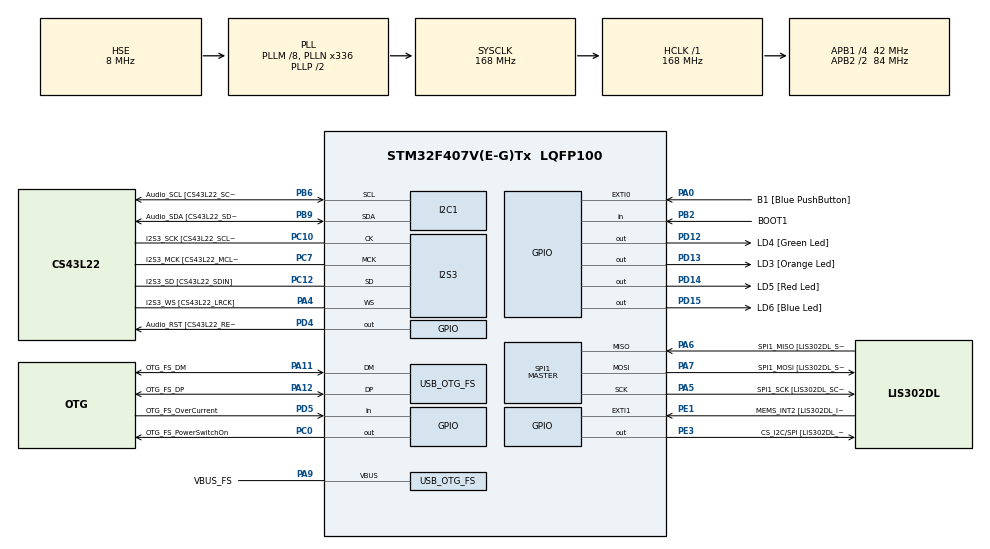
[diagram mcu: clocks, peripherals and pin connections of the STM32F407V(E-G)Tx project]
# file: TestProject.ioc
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FREERTOS.Queues01=hinweg,16,uint16_t,0,Dynamic,NULL,NULL;rueckweg,16,uint16_t,0,Dynamic,NULL,NULL
FREERTOS.Tasks01=defaultTask,24,128,StartDefaultTask,Default,NULL,Dynamic,NULL,NULL;producer,8,128,StartProducer,Default,NULL,Static,producerBuffer,producerControlBlock;consumer,8,128,StartConsumer,Default,NULL,Static,consumerBuffer,consumerControlBlock
FREERTOS.Timers01=swTimer,Callback01,osTimerPeriodic,Default,NULL,Dynamic,NULL
FREERTOS.configUSE_NEWLIB_REENTRANT=1
I2S3.AudioFreq-Half_Duplex_Master=I2S_AUDIOFREQ_96K
I2S3.ErrorAudioFreq=-2.34 %
I2S3.ErrorAudioFreq-Half_Duplex_Master=0.8 %
I2S3.FullDuplexMode=I2S_FULLDUPLEXMODE_DISABLE
I2S3.Instance=SPI$Index
I2S3.RealAudioFreq=93.75 KHz
I2S3.RealAudioFreq-Half_Duplex_Master=96.774 KHz
I2S3.VirtualMode=I2S_MODE_MASTER
Mcu.Family=STM32F4
Mcu.Name=STM32F407V(E-G)Tx
Mcu.Package=LQFP100
NVIC.OTG_FS_IRQn=true\:5\:0\:false\:false\:true\:true\:true\:true\:true
NVIC.PriorityGroup=NVIC_PRIORITYGROUP_4
NVIC.TIM6_DAC_IRQn=true\:15\:0\:false\:false\:true\:false\:false\:true\:true
NVIC.TIM7_IRQn=true\:5\:0\:false\:false\:true\:true\:true\:true\:true
NVIC.TimeBase=TIM6_DAC_IRQn
NVIC.TimeBaseIP=TIM6
PA0-WKUP.GPIO_Label=B1 [Blue PushButton]
PA0-WKUP.GPIO_ModeDefaultEXTI=GPIO_MODE_EVT_RISING
PA0-WKUP.GPIO_PuPd=GPIO_NOPULL
PA0-WKUP.Signal=GPXTI0
PA10.GPIO_Label=OTG_FS_ID
PA10.GPIO_Mode=GPIO_MODE_AF_PP
PA10.GPIO_PuPd=GPIO_NOPULL
PA10.GPIO_Speed=GPIO_SPEED_FREQ_LOW
PA10.Signal=USB_OTG_FS_ID
PA11.GPIO_Label=OTG_FS_DM
PA11.GPIO_Mode=GPIO_MODE_AF_PP
PA11.GPIO_PuPd=GPIO_NOPULL
PA11.GPIO_Speed=GPIO_SPEED_FREQ_LOW
PA11.Mode=Host_Only
PA11.Signal=USB_OTG_FS_DM
PA12.GPIO_Label=OTG_FS_DP
PA12.GPIO_Mode=GPIO_MODE_AF_PP
PA12.GPIO_PuPd=GPIO_NOPULL
PA12.GPIO_Speed=GPIO_SPEED_FREQ_LOW
PA12.Mode=Host_Only
PA12.Signal=USB_OTG_FS_DP
PA13.GPIO_Label=SWDIO
PA13.Mode=Serial_Wire
PA13.Signal=SYS_JTMS-SWDIO
PA14.GPIO_Label=SWCLK
PA14.Mode=Serial_Wire
PA14.Signal=SYS_JTCK-SWCLK
PA4.GPIO_Label=I2S3_WS [CS43L22_LRCK]
PA4.GPIO_Mode=GPIO_MODE_AF_PP
PA4.GPIO_PuPd=GPIO_NOPULL
PA4.GPIO_Speed=GPIO_SPEED_FREQ_LOW
PA4.Mode=Half_Duplex_Master
PA4.Signal=I2S3_WS
PA5.GPIO_Label=SPI1_SCK [LIS302DL_SCL/SPC]
PA5.GPIO_Mode=GPIO_MODE_AF_PP
PA5.GPIO_PuPd=GPIO_NOPULL
PA5.GPIO_Speed=GPIO_SPEED_FREQ_LOW
PA5.Mode=Full_Duplex_Master
PA5.Signal=SPI1_SCK
PA6.GPIO_Label=SPI1_MISO [LIS302DL_SDO]
PA6.GPIO_Mode=GPIO_MODE_AF_PP
PA6.GPIO_PuPd=GPIO_NOPULL
PA6.GPIO_Speed=GPIO_SPEED_FREQ_LOW
PA6.Mode=Full_Duplex_Master
PA6.Signal=SPI1_MISO
PA7.GPIO_Label=SPI1_MOSI [LIS302DL_SDA/SDI/SDO]
PA7.GPIO_Mode=GPIO_MODE_AF_PP
PA7.GPIO_PuPd=GPIO_NOPULL
PA7.GPIO_Speed=GPIO_SPEED_FREQ_LOW
PA7.Mode=Full_Duplex_Master
PA7.Signal=SPI1_MOSI
PA9.GPIO_Label=VBUS_FS
PA9.GPIO_Mode=GPIO_MODE_INPUT
PA9.GPIO_PuPd=GPIO_NOPULL
PA9.Mode=Activate_VBUS
PA9.Signal=USB_OTG_FS_VBUS
PB10.GPIO_Label=CLK_IN [MP45DT02_CLK]
PB10.GPIO_Mode=GPIO_MODE_AF_PP
PB10.GPIO_PuPd=GPIO_NOPULL
PB10.GPIO_Speed=GPIO_SPEED_FREQ_LOW
PB10.Signal=I2S2_CK
PB2.GPIO_Label=BOOT1
PB2.GPIO_Mode=GPIO_MODE_INPUT
PB2.GPIO_PuPd=GPIO_NOPULL
PB2.Signal=GPIO_Input
PB3.GPIO_Label=SWO
PB3.Signal=SYS_JTDO-SWO
PB6.GPIO_Label=Audio_SCL [CS43L22_SCL]
PB6.GPIO_Mode=GPIO_MODE_AF_OD
PB6.GPIO_Pu=GPIO_PULLUP
PB6.GPIO_PuPd=GPIO_NOPULL
PB6.GPIO_Speed=GPIO_SPEED_FREQ_LOW
PB6.Mode=I2C
PB6.Signal=I2C1_SCL
PB9.GPIO_Label=Audio_SDA [CS43L22_SDA]
PB9.GPIO_Mode=GPIO_MODE_AF_OD
PB9.GPIO_Pu=GPIO_PULLUP
PB9.GPIO_PuPd=GPIO_NOPULL
PB9.GPIO_Speed=GPIO_SPEED_FREQ_LOW
PB9.Mode=I2C
PB9.Signal=I2C1_SDA
PC0.GPIO_Label=OTG_FS_PowerSwitchOn
PC0.GPIO_PuPd=GPIO_NOPULL
PC0.GPIO_Speed=GPIO_SPEED_FREQ_LOW
PC0.PinState=GPIO_PIN_SET
PC0.Signal=GPIO_Output
PC10.GPIO_Label=I2S3_SCK [CS43L22_SCLK]
PC10.GPIO_Mode=GPIO_MODE_AF_PP
PC10.GPIO_PuPd=GPIO_NOPULL
PC10.GPIO_Speed=GPIO_SPEED_FREQ_LOW
PC10.Mode=Half_Duplex_Master
PC10.Signal=I2S3_CK
PC12.GPIO_Label=I2S3_SD [CS43L22_SDIN]
PC12.GPIO_Mode=GPIO_MODE_AF_PP
PC12.GPIO_PuPd=GPIO_NOPULL
PC12.GPIO_Speed=GPIO_SPEED_FREQ_LOW
PC12.Mode=Half_Duplex_Master
PC12.Signal=I2S3_SD
PC14-OSC32_IN.GPIO_Label=PC14-OSC32_IN
PC14-OSC32_IN.Mode=LSE-External-Oscillator
PC14-OSC32_IN.Signal=RCC_OSC32_IN
PC15-OSC32_OUT.GPIO_Label=PC15-OSC32_OUT
PC15-OSC32_OUT.Mode=LSE-External-Oscillator
PC15-OSC32_OUT.Signal=RCC_OSC32_OUT
PC3.GPIO_Label=PDM_OUT [MP45DT02_DOUT]
PC3.GPIO_Mode=GPIO_MODE_AF_PP
PC3.GPIO_PuPd=GPIO_NOPULL
PC3.GPIO_Speed=GPIO_SPEED_FREQ_LOW
PC3.Signal=I2S2_SD
PC7.GPIO_Label=I2S3_MCK [CS43L22_MCLK]
PC7.GPIO_Mode=GPIO_MODE_AF_PP
PC7.GPIO_PuPd=GPIO_NOPULL
PC7.GPIO_Speed=GPIO_SPEED_FREQ_LOW
PC7.Mode=Master_Clock_Activated
PC7.Signal=I2S3_MCK
PD12.GPIO_Label=LD4 [Green Led]
PD12.GPIO_PuPd=GPIO_NOPULL
PD12.GPIO_Speed=GPIO_SPEED_FREQ_LOW
PD12.Signal=GPIO_Output
PD13.GPIO_Label=LD3 [Orange Led]
PD13.GPIO_PuPd=GPIO_NOPULL
PD13.GPIO_Speed=GPIO_SPEED_FREQ_LOW
PD13.Signal=GPIO_Output
PD14.GPIO_Label=LD5 [Red Led]
PD14.GPIO_PuPd=GPIO_NOPULL
PD14.GPIO_Speed=GPIO_SPEED_FREQ_LOW
PD14.Signal=GPIO_Output
PD15.GPIO_Label=LD6 [Blue Led]
PD15.GPIO_PuPd=GPIO_NOPULL
PD15.GPIO_Speed=GPIO_SPEED_FREQ_LOW
PD15.Signal=GPIO_Output
PD4.GPIO_Label=Audio_RST [CS43L22_RESET]
PD4.GPIO_PuPd=GPIO_NOPULL
PD4.GPIO_Speed=GPIO_SPEED_FREQ_LOW
PD4.Signal=GPIO_Output
PD5.GPIO_Label=OTG_FS_OverCurrent
PD5.GPIO_Mode=GPIO_MODE_INPUT
PD5.GPIO_PuPd=GPIO_NOPULL
PD5.Signal=GPIO_Input
PE1.GPIO_Label=MEMS_INT2 [LIS302DL_INT2]
PE1.GPIO_ModeDefaultEXTI=GPIO_MODE_EVT_RISING
PE1.GPIO_PuPd=GPIO_NOPULL
PE1.Signal=GPXTI1
PE3.GPIO_Label=CS_I2C/SPI [LIS302DL_CS_I2C/SPI]
PE3.GPIO_PuPd=GPIO_NOPULL
PE3.GPIO_Speed=GPIO_SPEED_FREQ_LOW
PE3.Signal=GPIO_Output
PH0-OSC_IN.GPIO_Label=PH0-OSC_IN
PH0-OSC_IN.Mode=HSE-External-Oscillator
PH0-OSC_IN.Signal=RCC_OSC_IN
PH1-OSC_OUT.GPIO_Label=PH1-OSC_OUT
PH1-OSC_OUT.Mode=HSE-External-Oscillator
PH1-OSC_OUT.Signal=RCC_OSC_OUT
ProjectManager.HeapSize=0x200
ProjectManager.StackSize=0x400
ProjectManager.TargetToolchain=STM32CubeIDE
RCC.48MHZClocksFreq_Value=48000000
RCC.AHBFreq_Value=168000000
RCC.APB1CLKDivider=RCC_HCLK_DIV4
RCC.APB1Freq_Value=42000000
RCC.APB1TimFreq_Value=84000000
RCC.APB2CLKDivider=RCC_HCLK_DIV2
RCC.APB2Freq_Value=84000000
RCC.APB2TimFreq_Value=168000000
RCC.CortexFreq_Value=168000000
RCC.HCLKFreq_Value=168000000
RCC.HSE_VALUE=8000000
RCC.HSI_VALUE=16000000
RCC.PLLM=8
RCC.PLLN=336
RCC.PLLQ=7
RCC.SYSCLKFreq_VALUE=168000000
RCC.SYSCLKSource=RCC_SYSCLKSOURCE_PLLCLK
RCC.VCOOutputFreq_Value=336000000
SPI1.BaudRatePrescaler-Full_Duplex_Master=SPI_BAUDRATEPRESCALER_2
SPI1.CalculateBaudRate-Full_Duplex_Master=42.0 MBits/s
SPI1.Direction=SPI_DIRECTION_2LINES
SPI1.Mode=SPI_MODE_MASTER
SPI1.Mode-Full_Duplex_Master=SPI_MODE_MASTER
SPI1.VirtualType=VM_MASTER
TIM7.AutoReloadPreload=TIM_AUTORELOAD_PRELOAD_ENABLE
TIM7.Period=2000
TIM7.Prescaler=8399
TIM7.TIM_MasterOutputTrigger=TIM_TRGO_RESET
USB_HOST.BSP.number=1
USB_HOST.USBH_HandleTypeDef-CDC_FS=hUsbHostFS
USB_HOST.USBH_USE_OS-CDC_FS=0
USB_HOST.VirtualModeFS=Cdc
USB_HOST0.BSP.STBoard=false
USB_HOST0.BSP.api=Unknown
USB_HOST0.BSP.instance=PC0
USB_HOST0.BSP.ip=GPIO
USB_HOST0.BSP.mode=Output
USB_HOST0.BSP.name=Drive_VBUS_FS
USB_HOST0.BSP.solution=PC0
USB_OTG_FS.VirtualMode=Host_Only
USB_OTG_FS.phy_itface=HCD_PHY_EMBEDDED
VP_FREERTOS_VS_CMSIS_V2.Mode=CMSIS_V2
VP_RNG_VS_RNG.Mode=RNG_Activate
VP_SYS_VS_tim6.Mode=TIM6
VP_TIM7_VS_ClockSourceINT.Mode=Enable_Timer
VP_USB_HOST_VS_USB_HOST_CDC_FS.Mode=CDC_FS
board=STM32F407G-DISC1

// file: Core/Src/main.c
/* USER CODE BEGIN Header */
/**
  ******************************************************************************
  * @file           : main.c
  * @brief          : Main program body
  ******************************************************************************
  * @attention
  *
  * Copyright (c) 2024 STMicroelectronics.
  * All rights reserved.
  *
  * This software is licensed under terms that can be found in the LICENSE file
  * in the root directory of this software component.
  * If no LICENSE file comes with this software, it is provided AS-IS.
  *
  ******************************************************************************
  */
/* USER CODE END Header */
#include "main.h"
#include "cmsis_os.h"
#include "usb_host.h"

/* USER CODE BEGIN Includes */
#include "display.h"
#include <stdio.h>
/* USER CODE END Includes */

typedef StaticTask_t osStaticThreadDef_t;

I2C_HandleTypeDef hi2c1;

I2S_HandleTypeDef hi2s3;

RNG_HandleTypeDef hrng;

SPI_HandleTypeDef hspi1;

TIM_HandleTypeDef htim7;

/* Definitions for defaultTask */
osThreadId_t defaultTaskHandle;
const osThreadAttr_t defaultTask_attributes = {
  .name = "defaultTask",
  .stack_size = 128 * 4,
  .priority = (osPriority_t) osPriorityNormal,
};
/* Definitions for producer */
osThreadId_t producerHandle;
uint32_t producerBuffer[ 128 ];
osStaticThreadDef_t producerControlBlock;
const osThreadAttr_t producer_attributes = {
  .name = "producer",
  .cb_mem = &producerControlBlock,
  .cb_size = sizeof(producerControlBlock),
  .stack_mem = &producerBuffer[0],
  .stack_size = sizeof(producerBuffer),
  .priority = (osPriority_t) osPriorityLow,
};
/* Definitions for consumer */
osThreadId_t consumerHandle;
uint32_t consumerBuffer[ 128 ];
osStaticThreadDef_t consumerControlBlock;
const osThreadAttr_t consumer_attributes = {
  .name = "consumer",
  .cb_mem = &consumerControlBlock,
  .cb_size = sizeof(consumerControlBlock),
  .stack_mem = &consumerBuffer[0],
  .stack_size = sizeof(consumerBuffer),
  .priority = (osPriority_t) osPriorityLow,
};
/* Definitions for hinweg */
osMessageQueueId_t hinwegHandle;
const osMessageQueueAttr_t hinweg_attributes = {
  .name = "hinweg"
};
/* Definitions for rueckweg */
osMessageQueueId_t rueckwegHandle;
const osMessageQueueAttr_t rueckweg_attributes = {
  .name = "rueckweg"
};
/* Definitions for swTimer */
osTimerId_t swTimerHandle;
const osTimerAttr_t swTimer_attributes = {
  .name = "swTimer"
};

void SystemClock_Config(void);
static void MX_GPIO_Init(void);
static void MX_I2C1_Init(void);
static void MX_I2S3_Init(void);
static void MX_SPI1_Init(void);
static void MX_TIM7_Init(void);
static void MX_RNG_Init(void);
void StartDefaultTask(void *argument);
void StartProducer(void *argument);
void StartConsumer(void *argument);
void Callback01(void *argument);

/* USER CODE BEGIN 0 */
uint32_t swTimerCount = 0;
uint32_t hwTimerCount = 0;
/* USER CODE END 0 */

int main(void)
{

  /* MCU Configuration--------------------------------------------------------*/

  /* Reset of all peripherals, Initializes the Flash interface and the Systick. */
  HAL_Init();

  /* Configure the system clock */
  SystemClock_Config();

  /* Initialize all configured peripherals */
  MX_GPIO_Init();
  MX_I2C1_Init();
  MX_I2S3_Init();
  MX_SPI1_Init();
  MX_TIM7_Init();
  MX_RNG_Init();
  /* USER CODE BEGIN 2 */
  LCD_Init();
  LCD_ClearDisplay( RED );
  /* USER CODE END 2 */

  /* Init scheduler */
  osKernelInitialize();

  /* Create the timer(s) */
  /* creation of swTimer */
  swTimerHandle = osTimerNew(Callback01, osTimerPeriodic, NULL, &swTimer_attributes);

  /* USER CODE BEGIN RTOS_TIMERS */
  /* start timers, add new ones, ... */
  osStatus_t mySWTimer;
  mySWTimer = osTimerStart(swTimerHandle, 100);
  if (mySWTimer == osOK) { /* I hate warnings */ }
  /* USER CODE END RTOS_TIMERS */

  /* Create the queue(s) */
  /* creation of hinweg */
  hinwegHandle = osMessageQueueNew (16, sizeof(uint16_t), &hinweg_attributes);

  /* creation of rueckweg */
  rueckwegHandle = osMessageQueueNew (16, sizeof(uint16_t), &rueckweg_attributes);

  /* Create the thread(s) */
  /* creation of defaultTask */
  defaultTaskHandle = osThreadNew(StartDefaultTask, NULL, &defaultTask_attributes);

  /* creation of producer */
  producerHandle = osThreadNew(StartProducer, NULL, &producer_attributes);

  /* creation of consumer */
  consumerHandle = osThreadNew(StartConsumer, NULL, &consumer_attributes);

  /* Start scheduler */
  osKernelStart();

  /* We should never get here as control is now taken by the scheduler */

  /* Infinite loop */
  while (1)
  {

  }
}

void SystemClock_Config(void)
{
  RCC_OscInitTypeDef RCC_OscInitStruct = {0};
  RCC_ClkInitTypeDef RCC_ClkInitStruct = {0};

  /** Configure the main internal regulator output voltage
  */
  __HAL_RCC_PWR_CLK_ENABLE();
  __HAL_PWR_VOLTAGESCALING_CONFIG(PWR_REGULATOR_VOLTAGE_SCALE1);

  /** Initializes the RCC Oscillators according to the specified parameters
  * in the RCC_OscInitTypeDef structure.
  */
  RCC_OscInitStruct.OscillatorType = RCC_OSCILLATORTYPE_HSE;
  RCC_OscInitStruct.HSEState = RCC_HSE_ON;
  RCC_OscInitStruct.PLL.PLLState = RCC_PLL_ON;
  RCC_OscInitStruct.PLL.PLLSource = RCC_PLLSOURCE_HSE;
  RCC_OscInitStruct.PLL.PLLM = 8;
  RCC_OscInitStruct.PLL.PLLN = 336;
  RCC_OscInitStruct.PLL.PLLP = RCC_PLLP_DIV2;
  RCC_OscInitStruct.PLL.PLLQ = 7;
  if (HAL_RCC_OscConfig(&RCC_OscInitStruct) != HAL_OK)
  {
    Error_Handler();
  }

  /** Initializes the CPU, AHB and APB buses clocks
  */
  RCC_ClkInitStruct.ClockType = RCC_CLOCKTYPE_HCLK|RCC_CLOCKTYPE_SYSCLK
                              |RCC_CLOCKTYPE_PCLK1|RCC_CLOCKTYPE_PCLK2;
  RCC_ClkInitStruct.SYSCLKSource = RCC_SYSCLKSOURCE_PLLCLK;
  RCC_ClkInitStruct.AHBCLKDivider = RCC_SYSCLK_DIV1;
  RCC_ClkInitStruct.APB1CLKDivider = RCC_HCLK_DIV4;
  RCC_ClkInitStruct.APB2CLKDivider = RCC_HCLK_DIV2;

  if (HAL_RCC_ClockConfig(&RCC_ClkInitStruct, FLASH_LATENCY_5) != HAL_OK)
  {
    Error_Handler();
  }
}

static void MX_I2C1_Init(void)
{

  hi2c1.Instance = I2C1;
  hi2c1.Init.ClockSpeed = 100000;
  hi2c1.Init.DutyCycle = I2C_DUTYCYCLE_2;
  hi2c1.Init.OwnAddress1 = 0;
  hi2c1.Init.AddressingMode = I2C_ADDRESSINGMODE_7BIT;
  hi2c1.Init.DualAddressMode = I2C_DUALADDRESS_DISABLE;
  hi2c1.Init.OwnAddress2 = 0;
  hi2c1.Init.GeneralCallMode = I2C_GENERALCALL_DISABLE;
  hi2c1.Init.NoStretchMode = I2C_NOSTRETCH_DISABLE;
  if (HAL_I2C_Init(&hi2c1) != HAL_OK)
  {
    Error_Handler();
  }

}

static void MX_I2S3_Init(void)
{

  hi2s3.Instance = SPI3;
  hi2s3.Init.Mode = I2S_MODE_MASTER_TX;
  hi2s3.Init.Standard = I2S_STANDARD_PHILIPS;
  hi2s3.Init.DataFormat = I2S_DATAFORMAT_16B;
  hi2s3.Init.MCLKOutput = I2S_MCLKOUTPUT_ENABLE;
  hi2s3.Init.AudioFreq = I2S_AUDIOFREQ_96K;
  hi2s3.Init.CPOL = I2S_CPOL_LOW;
  hi2s3.Init.ClockSource = I2S_CLOCK_PLL;
  hi2s3.Init.FullDuplexMode = I2S_FULLDUPLEXMODE_DISABLE;
  if (HAL_I2S_Init(&hi2s3) != HAL_OK)
  {
    Error_Handler();
  }

}

static void MX_RNG_Init(void)
{

  hrng.Instance = RNG;
  if (HAL_RNG_Init(&hrng) != HAL_OK)
  {
    Error_Handler();
  }

}

static void MX_SPI1_Init(void)
{

  /* SPI1 parameter configuration*/
  hspi1.Instance = SPI1;
  hspi1.Init.Mode = SPI_MODE_MASTER;
  hspi1.Init.Direction = SPI_DIRECTION_2LINES;
  hspi1.Init.DataSize = SPI_DATASIZE_8BIT;
  hspi1.Init.CLKPolarity = SPI_POLARITY_LOW;
  hspi1.Init.CLKPhase = SPI_PHASE_1EDGE;
  hspi1.Init.NSS = SPI_NSS_SOFT;
  hspi1.Init.BaudRatePrescaler = SPI_BAUDRATEPRESCALER_2;
  hspi1.Init.FirstBit = SPI_FIRSTBIT_MSB;
  hspi1.Init.TIMode = SPI_TIMODE_DISABLE;
  hspi1.Init.CRCCalculation = SPI_CRCCALCULATION_DISABLE;
  hspi1.Init.CRCPolynomial = 10;
  if (HAL_SPI_Init(&hspi1) != HAL_OK)
  {
    Error_Handler();
  }

}

static void MX_TIM7_Init(void)
{

  TIM_MasterConfigTypeDef sMasterConfig = {0};

  htim7.Instance = TIM7;
  htim7.Init.Prescaler = 8399;
  htim7.Init.CounterMode = TIM_COUNTERMODE_UP;
  htim7.Init.Period = 2000;
  htim7.Init.AutoReloadPreload = TIM_AUTORELOAD_PRELOAD_ENABLE;
  if (HAL_TIM_Base_Init(&htim7) != HAL_OK)
  {
    Error_Handler();
  }
  sMasterConfig.MasterOutputTrigger = TIM_TRGO_RESET;
  sMasterConfig.MasterSlaveMode = TIM_MASTERSLAVEMODE_DISABLE;
  if (HAL_TIMEx_MasterConfigSynchronization(&htim7, &sMasterConfig) != HAL_OK)
  {
    Error_Handler();
  }
  /* USER CODE BEGIN TIM7_Init 2 */
  HAL_TIM_Base_Start_IT(&htim7);
  /* USER CODE END TIM7_Init 2 */

}

static void MX_GPIO_Init(void)
{
  GPIO_InitTypeDef GPIO_InitStruct = {0};

  /* GPIO Ports Clock Enable */
  __HAL_RCC_GPIOE_CLK_ENABLE();
  __HAL_RCC_GPIOC_CLK_ENABLE();
  __HAL_RCC_GPIOH_CLK_ENABLE();
  __HAL_RCC_GPIOA_CLK_ENABLE();
  __HAL_RCC_GPIOB_CLK_ENABLE();
  __HAL_RCC_GPIOD_CLK_ENABLE();

  /*Configure GPIO pin Output Level */
  HAL_GPIO_WritePin(CS_I2C_SPI_GPIO_Port, CS_I2C_SPI_Pin, GPIO_PIN_RESET);

  /*Configure GPIO pin Output Level */
  HAL_GPIO_WritePin(OTG_FS_PowerSwitchOn_GPIO_Port, OTG_FS_PowerSwitchOn_Pin, GPIO_PIN_SET);

  /*Configure GPIO pin Output Level */
  HAL_GPIO_WritePin(GPIOD, LD4_Pin|LD3_Pin|LD5_Pin|LD6_Pin
                          |Audio_RST_Pin, GPIO_PIN_RESET);

  /*Configure GPIO pin : CS_I2C_SPI_Pin */
  GPIO_InitStruct.Pin = CS_I2C_SPI_Pin;
  GPIO_InitStruct.Mode = GPIO_MODE_OUTPUT_PP;
  GPIO_InitStruct.Pull = GPIO_NOPULL;
  GPIO_InitStruct.Speed = GPIO_SPEED_FREQ_LOW;
  HAL_GPIO_Init(CS_I2C_SPI_GPIO_Port, &GPIO_InitStruct);

  /*Configure GPIO pin : OTG_FS_PowerSwitchOn_Pin */
  GPIO_InitStruct.Pin = OTG_FS_PowerSwitchOn_Pin;
  GPIO_InitStruct.Mode = GPIO_MODE_OUTPUT_PP;
  GPIO_InitStruct.Pull = GPIO_NOPULL;
  GPIO_InitStruct.Speed = GPIO_SPEED_FREQ_LOW;
  HAL_GPIO_Init(OTG_FS_PowerSwitchOn_GPIO_Port, &GPIO_InitStruct);

  /*Configure GPIO pin : PDM_OUT_Pin */
  GPIO_InitStruct.Pin = PDM_OUT_Pin;
  GPIO_InitStruct.Mode = GPIO_MODE_AF_PP;
  GPIO_InitStruct.Pull = GPIO_NOPULL;
  GPIO_InitStruct.Speed = GPIO_SPEED_FREQ_LOW;
  GPIO_InitStruct.Alternate = GPIO_AF5_SPI2;
  HAL_GPIO_Init(PDM_OUT_GPIO_Port, &GPIO_InitStruct);

  /*Configure GPIO pin : B1_Pin */
  GPIO_InitStruct.Pin = B1_Pin;
  GPIO_InitStruct.Mode = GPIO_MODE_EVT_RISING;
  GPIO_InitStruct.Pull = GPIO_NOPULL;
  HAL_GPIO_Init(B1_GPIO_Port, &GPIO_InitStruct);

  /*Configure GPIO pin : BOOT1_Pin */
  GPIO_InitStruct.Pin = BOOT1_Pin;
  GPIO_InitStruct.Mode = GPIO_MODE_INPUT;
  GPIO_InitStruct.Pull = GPIO_NOPULL;
  HAL_GPIO_Init(BOOT1_GPIO_Port, &GPIO_InitStruct);

  /*Configure GPIO pin : CLK_IN_Pin */
  GPIO_InitStruct.Pin = CLK_IN_Pin;
  GPIO_InitStruct.Mode = GPIO_MODE_AF_PP;
  GPIO_InitStruct.Pull = GPIO_NOPULL;
  GPIO_InitStruct.Speed = GPIO_SPEED_FREQ_LOW;
  GPIO_InitStruct.Alternate = GPIO_AF5_SPI2;
  HAL_GPIO_Init(CLK_IN_GPIO_Port, &GPIO_InitStruct);

  /*Configure GPIO pins : LD4_Pin LD3_Pin LD5_Pin LD6_Pin
                           Audio_RST_Pin */
  GPIO_InitStruct.Pin = LD4_Pin|LD3_Pin|LD5_Pin|LD6_Pin
                          |Audio_RST_Pin;
  GPIO_InitStruct.Mode = GPIO_MODE_OUTPUT_PP;
  GPIO_InitStruct.Pull = GPIO_NOPULL;
  GPIO_InitStruct.Speed = GPIO_SPEED_FREQ_LOW;
  HAL_GPIO_Init(GPIOD, &GPIO_InitStruct);

  /*Configure GPIO pin : OTG_FS_OverCurrent_Pin */
  GPIO_InitStruct.Pin = OTG_FS_OverCurrent_Pin;
  GPIO_InitStruct.Mode = GPIO_MODE_INPUT;
  GPIO_InitStruct.Pull = GPIO_NOPULL;
  HAL_GPIO_Init(OTG_FS_OverCurrent_GPIO_Port, &GPIO_InitStruct);

  /*Configure GPIO pin : MEMS_INT2_Pin */
  GPIO_InitStruct.Pin = MEMS_INT2_Pin;
  GPIO_InitStruct.Mode = GPIO_MODE_EVT_RISING;
  GPIO_InitStruct.Pull = GPIO_NOPULL;
  HAL_GPIO_Init(MEMS_INT2_GPIO_Port, &GPIO_InitStruct);

}

void StartDefaultTask(void *argument)
{
  /* init code for USB_HOST */
  MX_USB_HOST_Init();
  /* USER CODE BEGIN 5 */
  /* Infinite loop */
  while( 1 )
  {
	osDelay(100);
	if(HAL_GPIO_ReadPin(GPIOA, GPIO_PIN_0)) {
		HAL_GPIO_TogglePin(GPIOD, GPIO_PIN_12);
		LCD_ClearDisplay( RED );
		LCD_WriteString( 10, 50, WHITE, RED, "Taster: gedrueckt");
	} else {
		HAL_GPIO_WritePin(GPIOD, GPIO_PIN_12, GPIO_PIN_RESET);
		LCD_ClearDisplay( RED );
		LCD_WriteString( 10, 50, WHITE, RED, "Taster: nicht gedrueckt");
	}
  }
  /* USER CODE END 5 */
}

void StartProducer(void *argument)
{
  /* USER CODE BEGIN StartProducer */
  /* Infinite loop */
  uint16_t randInt;
  uint16_t myRandInt;
  while( 1 )
  {
	HAL_RNG_GenerateRandomNumber(&hrng, &randInt);
	myRandInt = randInt % 10;

	osMessageQueuePut(hinwegHandle, &myRandInt, 0, osWaitForever);
	if(myRandInt == 0) {
		uint16_t result;
		osMessageQueueGet(rueckwegHandle, &result, 0, osWaitForever);
		char buffer2[50];
		sprintf(buffer2, "Mittelwert: %d", result);
		LCD_ClearDisplay( RED );
		LCD_WriteString( 10, 10, WHITE, RED, buffer2);
	}
	osDelay(1000);
  }
  /* USER CODE END StartProducer */
}

void StartConsumer(void *argument)
{
  /* USER CODE BEGIN StartConsumer */
  /* Infinite loop */
  uint16_t number;
  uint32_t amount = 0;
  uint32_t count = 0;
  uint16_t mittelwert = 0;
  while( 1 )
  {
	osMessageQueueGet(hinwegHandle, &number, 0, osWaitForever);
	if(number != 0) {
		amount += number;
		count++;
	} else {
		if(count != 0) {
			mittelwert = amount/count;
		} else {
			mittelwert = 0;
		}
		osMessageQueuePut(rueckwegHandle, &mittelwert, 0, osWaitForever);
		amount = 0;
		count = 0;
	}

    osDelay(1000);
  }
  /* USER CODE END StartConsumer */
}

/* Callback01 function */
void Callback01(void *argument)
{
  /* USER CODE BEGIN Callback01 */
	swTimerCount++;
	//HAL_GPIO_TogglePin(GPIOD, GPIO_PIN_13);
  /* USER CODE END Callback01 */
}

void HAL_TIM_PeriodElapsedCallback(TIM_HandleTypeDef *htim)
{
  /* USER CODE BEGIN Callback 0 */
	if (htim->Instance == TIM7) {
		hwTimerCount++;
		//HAL_GPIO_TogglePin(GPIOD, GPIO_PIN_13);
	  }
  /* USER CODE END Callback 0 */
  if (htim->Instance == TIM6) {
    HAL_IncTick();
  }
}

void Error_Handler(void)
{
  __disable_irq();
  while (1)
  {
  }
}
